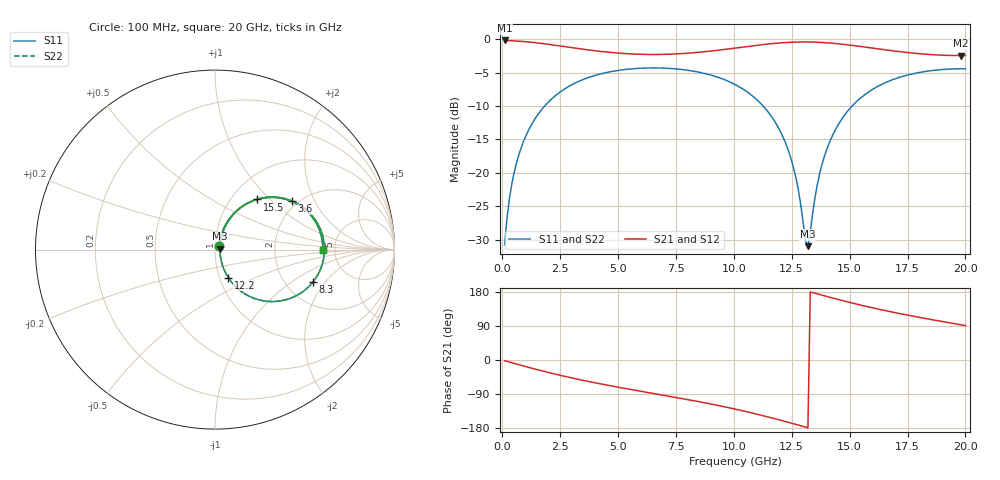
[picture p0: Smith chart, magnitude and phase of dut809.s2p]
! Touchstone file exported from HFSS 2026.1.0
!  File:  C:/ffzhzh/LocalFiles/Ansys_Project_Files/temp_train_TSV_RDL_809_1783263840_38704.aedt
!  Generated:  11:15:13 PM Jul  5, 2026
!  Design:  TSV_RDL
!  Project:  temp_train_TSV_RDL_809_1783263840_38704
! Variables:
!  h_bsmrdl = 3.97um
!  h_ox = 20um
!  h_rdl = 5um
!  h_sub = 50um
!  h_tmrdl = 3.86um
!  h_tsv = 50um
!  h_via = 3um
!  l_bsmrdl = 789.18um
!  l_sub = 4896.19um
!  l_tmrdl = 502.62um
!  m_sub = 200um
!  pitch = 54.5um
!  r_tsv = 11.08um
!  s_tmrdl = 10um
!  w_bsmrdl = 19.47um
!  w_sub = 500um
!  w_tmrdl = 19.92um
!  x_tsv_center1 = 512.58um
!  x_tsv_center2 = 1321.23um
!  x_tsv_center3 = 1843.77um
!  x_tsv_center4 = 2652.42um
!  x_tsv_center5 = 3174.96um
!  x_tsv_center6 = 3983.61um
# GHz S MA R 50.000000
! Terminal data exported
! Port[1] = TM_RDL1_1_T1
! Port[2] = TM_RDL5_1_T1
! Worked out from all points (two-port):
!   200 points, 100 MHz to 20 GHz, reference 50 ohm
!   highest |S21| = -0.18 dB at 100 MHz (marker M1); lowest = -2.4 dB at 19.8 GHz (marker M2)
!   |S21| within 3 dB of the highest: start of sweep to end of sweep
!   lowest |S11| = -31.0 dB at 13.2 GHz (marker M3), VSWR 1.06, Z = 52.9 + j0.509 ohm
!   |S11| at or under -10 dB: start of sweep to 1.831 GHz; 11.26 GHz to 15.11 GHz (3.846 GHz wide, 29.2 % of centre)
!   |S22| runs from -31.1 to -4.3 dB; largest |S21 - S12| = 1.7e-14
!   S11 on the Smith chart (normalised r, x): 100 MHz: 1.04, +0.04; 3.6 GHz: 1.86, +1.36; 8.3 GHz: 2.80, -1.51; 12.2 GHz: 1.10, -0.35; 15.5 GHz: 1.31, +0.85; 20 GHz: 4.01, -0.01
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0.1  0.02888 42.2  0.979 -1.8  0.979 -1.8  0.02888 42.2
! Gamma 0 0 0 0
! Port Impedance 50 0 50 0
0.3  0.06264 63.8  0.976 -5.3  0.976 -5.3  0.06264 63.8
0.5  0.0983 67.5  0.9721 -8.7  0.9721 -8.7  0.0983 67.5
1.1  0.2027 64.2  0.9549 -18.8  0.9549 -18.8  0.2027 64.2
2.1  0.3533 51.4  0.9106 -34.5  0.9106 -34.5  0.3533 51.4
3.5  0.5001 33.4  0.8411 -53.9  0.8411 -53.9  0.5001 33.4
3.6  0.5079 32.2  0.8367 -55.2  0.8367 -55.2  0.5079 32.2
6.8  0.609 -2.6  0.7693 -91.2  0.7693 -91.2  0.609 -2.6
8.3  0.5747 -18.4  0.793 -107.8  0.793 -107.8  0.5747 -18.4
10.1  0.4535 -39.4  0.8605 -130.1  0.8605 -130.1  0.4536 -39.4
11.3  0.3113 -54.7  0.9139 -147.6  0.9139 -147.6  0.3113 -54.7
12.2  0.1726 -64.6  0.9439 -161.9  0.9439 -161.9  0.1726 -64.6
12.7  0.08859 -63.7  0.9526 -170.3  0.9526 -170.3  0.08856 -63.8
13.1  0.03068 -23.5  0.9544 -177.0  0.9544 -177.0  0.03051 -23.8
13.2  0.02823 9.8  0.9541 -178.7  0.9541 -178.7  0.02802 9.8
13.4  0.04915 52.1  0.9525 177.9  0.9525 177.9  0.04901 52.3
13.7  0.09743 65.1  0.9481 172.9  0.9481 172.9  0.09734 65.2
14.1  0.164 65.5  0.9383 166.3  0.9383 166.3  0.1639 65.5
15.5  0.3662 49.8  0.8812 144.6  0.8812 144.6  0.3662 49.8
16.7  0.4858 35.1  0.8258 128.3  0.8258 128.3  0.4858 35.1
19.8  0.6007 2.0  0.7543 92.9  0.7543 92.9  0.6007 2.0
20  0.6005 -0.1  0.7545 90.8  0.7545 90.8  0.6004 -0.0
